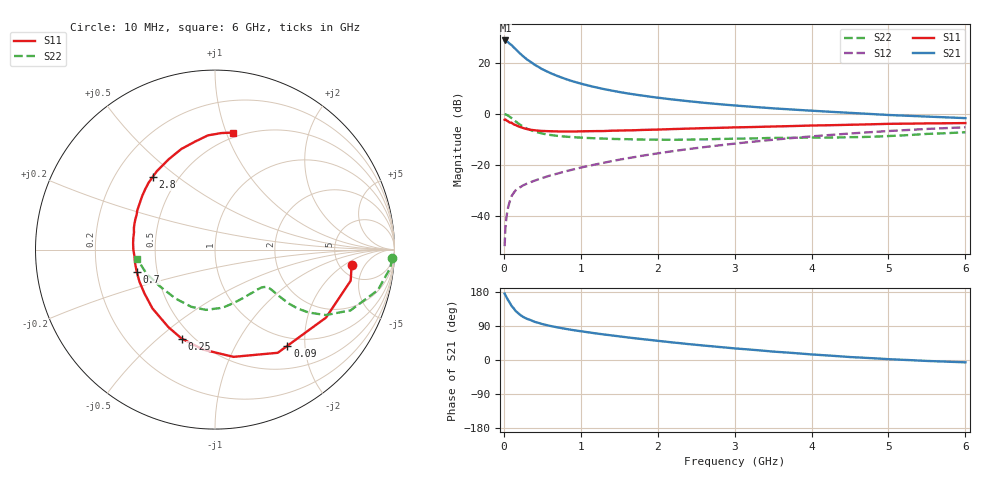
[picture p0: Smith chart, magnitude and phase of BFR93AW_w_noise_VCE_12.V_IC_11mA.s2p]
! (c) 2017  Infineon Technologies AG, Munich
! Infineon Technologies  Discrete & RF Semiconductors
! BFR93AW
! VCE =  12. V,  IC =  11 mA
! Common Emitter S-Parameters:  Jan 2017
# GHz  S  MA  R  50
!  f  S11  S21  S12  S22
! GHz  MAG  ANG  MAG  ANG  MAG  ANG  MAG  ANG
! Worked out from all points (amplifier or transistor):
!   77 points, 10 MHz to 6 GHz, reference 50 ohm
!   highest |S21| = 28.7 dB at 20 MHz (marker M1)
!   |S21| within 3 dB of that: start of sweep to 139.3 MHz
!   unconditionally stable (mu >= 1): 859.5 MHz to 2.111 GHz
!   at 130 MHz: K = 0.31, MSG = 28.4 dB, |S12| = -30.8 dB
!   at 2.2 GHz: K = 0.99, MSG = 10.1 dB, |S12| = -14.6 dB
!   at 6 GHz: K = 0.85, MSG = 1.8 dB, |S12| = -5.2 dB
!   lowest NFmin = 1.26 dB at 450 MHz
!   S11 on the Smith chart (normalised r, x): 10 MHz: 6.40, -2.69; 90 MHz: 0.86, -1.67; 250 MHz: 0.44, -0.60; 700 MHz: 0.38, -0.12; 2.8 GHz: 0.36, +0.41; 6 GHz: 0.46, +1.06
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0.01  0.7661 -6.5  26.91 175.3  0.0026 82.7  0.9879 -2.8
0.02  0.7756 -12.9  27.12 171.4  0.0058 81.0  0.9824 -5.9
0.05  0.7254 -31.5  25.43 159.6  0.0136 74.8  0.9356 -13.9
0.09  0.6706 -53.0  22.55 146.5  0.0224 66.8  0.8468 -21.9
0.1  0.6729 -58.7  22.04 142.8  0.0246 65.7  0.8276 -24.2
0.15  0.6064 -80.2  18.53 130.2  0.0317 57.7  0.7163 -30.6
0.2  0.561 -96.8  15.61 121.0  0.0359 55.1  0.6289 -33.9
0.25  0.5292 -110.6  13.36 113.8  0.04 52.9  0.5641 -35.5
0.3  0.504 -121.0  11.57 108.7  0.0433 52.3  0.5137 -36.1
0.4  0.4783 -136.8  9.103 100.7  0.0495 53.7  0.4501 -36.0
0.5  0.4627 -148.2  7.445 94.8  0.0557 55.3  0.4115 -35.7
0.6  0.4574 -157.1  6.306 90.0  0.0623 57.0  0.3873 -35.4
0.7  0.4531 -164.3  5.454 86.0  0.0682 59.7  0.3706 -35.4
0.9  0.4506 -175.6  4.295 78.9  0.0818 61.9  0.3501 -36.5
1.1  0.4577 175.5  3.566 73.0  0.096 63.8  0.3372 -38.6
1.5  0.4715 161.9  2.671 62.4  0.127 65.6  0.3214 -45.3
2.1  0.4982 145.8  1.983 48.5  0.1778 64.9  0.3118 -60.1
2.8  0.5329 130.8  1.544 34.4  0.242 61.4  0.323 -79.9
3.1  0.547 124.6  1.419 29.1  0.2715 59.2  0.3282 -88.1
4.1  0.5943 106.9  1.129 13.4  0.3724 50.0  0.3438 -115.9
5.1  0.6395 92.2  0.936 1.3  0.4701 38.7  0.3738 -149.3
6  0.66 81.1  0.824 -6.2  0.5471 27.9  0.4374 -173.4
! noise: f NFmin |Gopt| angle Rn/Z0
0.45  1.26  0.12  111  0.13
0.9  1.57  0.23  157  0.14
1.9  2.62  0.47  -146  0.18
2.4  3.24  0.54  -130  0.37
